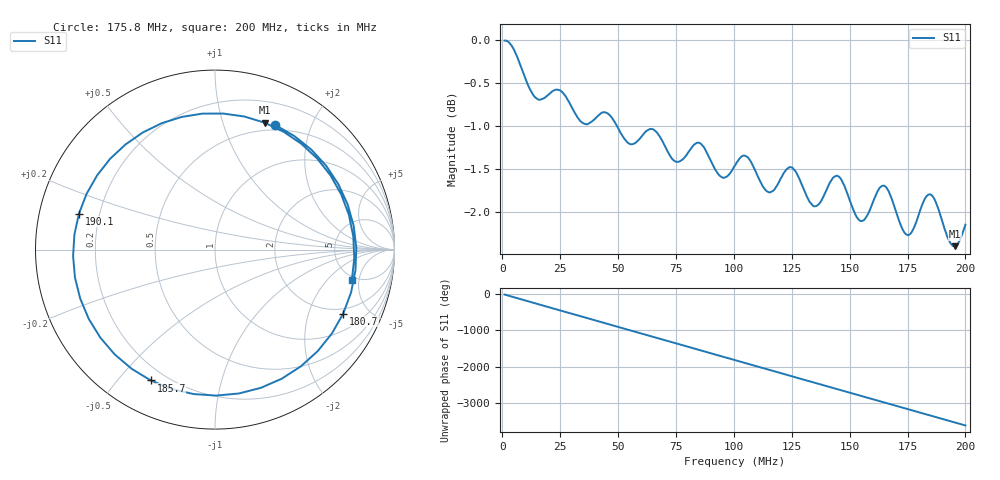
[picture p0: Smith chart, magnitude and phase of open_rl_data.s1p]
# HZ S RI R 50
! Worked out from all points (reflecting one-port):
!   404 points, 1 MHz to 200 MHz, reference 50 ohm
!   lowest |S11| = -2.4 dB at 195.6 MHz (marker M1), VSWR 7.30, Z = 20.7 + j69.1 ohm
!   phase of S11 starts at -18 deg and turns -3594 deg over the sweep
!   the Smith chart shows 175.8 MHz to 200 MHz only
!   S11 on the Smith chart (normalised r, x): 175.8 MHz: 0.44, +1.51; 180.7 MHz: 1.74, -3.41; 185.7 MHz: 0.14, -0.61; 190.1 MHz: 0.12, +0.13; 200 MHz: 4.54, -3.99
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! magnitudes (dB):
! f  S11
! 1 MHz  0.0
! 4.95 MHz  -0.1
! 14.33 MHz  -0.7
! 26.18 MHz  -0.6
! 34.58 MHz  -1.0
! 44.45 MHz  -0.8
! 50.87 MHz  -1.1
! 55.81 MHz  -1.2
! 65.19 MHz  -1.0
! 76.06 MHz  -1.4
! 84.45 MHz  -1.2
! 94.82 MHz  -1.6
! 100.7 MHz  -1.4
! 105.7 MHz  -1.4
! 115.6 MHz  -1.8
! 125.4 MHz  -1.5
! 134.3 MHz  -1.9
! 144.2 MHz  -1.6
! 150.6 MHz  -1.9
! 155.6 MHz  -2.1
! 164.9 MHz  -1.7
! 175.3 MHz  -2.3
! 175.8 MHz  -2.3
! 180.7 MHz  -2.0
! 185.7 MHz  -1.8
! 190.1 MHz  -2.1
! 195.6 MHz  -2.4
! 200 MHz  -2.1
